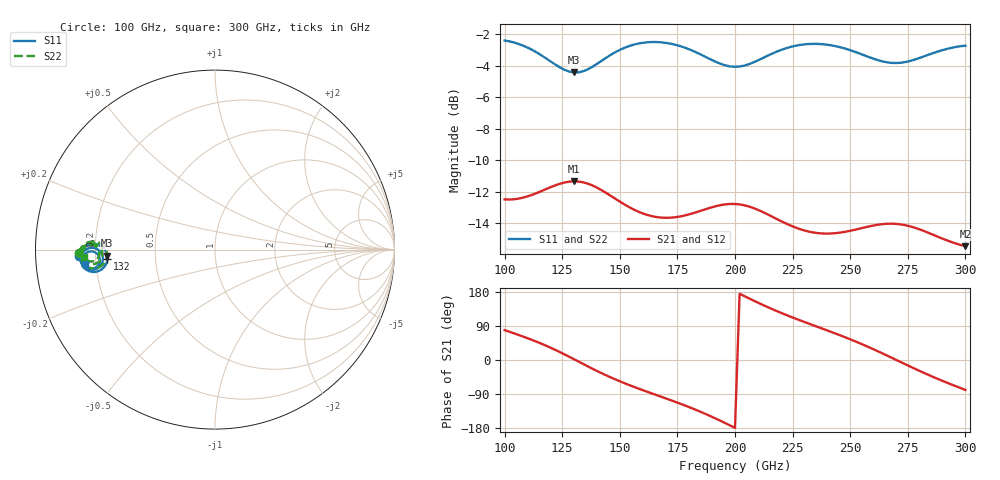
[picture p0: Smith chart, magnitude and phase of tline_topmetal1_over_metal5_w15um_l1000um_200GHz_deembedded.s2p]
! Created with skrf 2.0.1 (http://scikit-rf.org).
# GHz S DB R 50.0
!freq dBS11 angS11 dBS21 angS21 dBS12 angS12 dBS22 angS22
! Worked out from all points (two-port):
!   101 points, 100 GHz to 300 GHz, reference 50 ohm
!   highest |S21| = -11.34 dB at 130 GHz (marker M1); lowest = -15.5 dB at 300 GHz (marker M2)
!   |S21| within 3 dB of the highest: start of sweep to 227.5 GHz; 254.2 GHz to 279.1 GHz (24.95 GHz wide, 9.36 % of centre)
!   lowest |S11| = -4.4 dB at 130 GHz (marker M3), VSWR 4.01, Z = 12.5 - j1.35 ohm
!   |S11| at or under -10 dB: nowhere
!   |S22| runs from -4.4 to -2.4 dB; largest |S21 - S12| = 4.7e-15
!   S11 on the Smith chart (normalised r, x): 100 GHz: 0.14, -0.02; 132 GHz: 0.25, -0.04; 300 GHz: 0.16, -0.06
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100  -2.39 -177.5  -12.48 78.8  -12.48 78.8  -2.39 -178.6
116  -3.34 177.4  -11.96 42.9  -11.96 42.9  -3.33 176.1
122  -3.92 178.3  -11.59 26.7  -11.59 26.7  -3.91 176.9
130  -4.42 -176.7  -11.34 2.5  -11.34 2.5  -4.40 -178.2
132  -4.42 -175.1  -11.35 -3.8  -11.35 -3.8  -4.40 -176.6
134  -4.35 -173.5  -11.40 -10.1  -11.40 -10.1  -4.34 -175.0
142  -3.69 -169.7  -11.89 -34.5  -11.89 -34.5  -3.68 -171.3
148  -3.14 -169.7  -12.44 -51.0  -12.44 -51.0  -3.13 -171.5
158  -2.59 -172.8  -13.26 -75.2  -13.26 -75.2  -2.58 -174.6
168  -2.51 -176.7  -13.64 -97.1  -13.64 -97.1  -2.51 -178.6
178  -2.84 -179.9  -13.51 -119.4  -13.51 -119.4  -2.83 178.1
186  -3.35 179.2  -13.17 -139.2  -13.17 -139.2  -3.34 177.1
194  -3.89 -178.9  -12.84 -161.3  -12.84 -161.3  -3.88 178.8
200  -4.06 -175.8  -12.78 -179.2  -12.78 -179.2  -4.05 -178.1
206  -3.90 -172.6  -12.93 162.8  -12.93 162.8  -3.89 -175.0
216  -3.24 -170.7  -13.57 134.7  -13.57 134.7  -3.23 -173.2
234  -2.61 -175.0  -14.59 91.6  -14.59 91.6  -2.61 -177.7
252  -3.11 -179.1  -14.41 49.7  -14.41 49.7  -3.11 178.0
268  -3.82 -175.8  -14.03 5.9  -14.03 5.9  -3.81 -178.9
276  -3.69 -172.6  -14.20 -17.2  -14.20 -17.2  -3.69 -175.8
284  -3.30 -171.2  -14.61 -39.4  -14.61 -39.4  -3.30 -174.5
300  -2.72 -173.5  -15.46 -78.9  -15.46 -78.9  -2.73 -177.0
